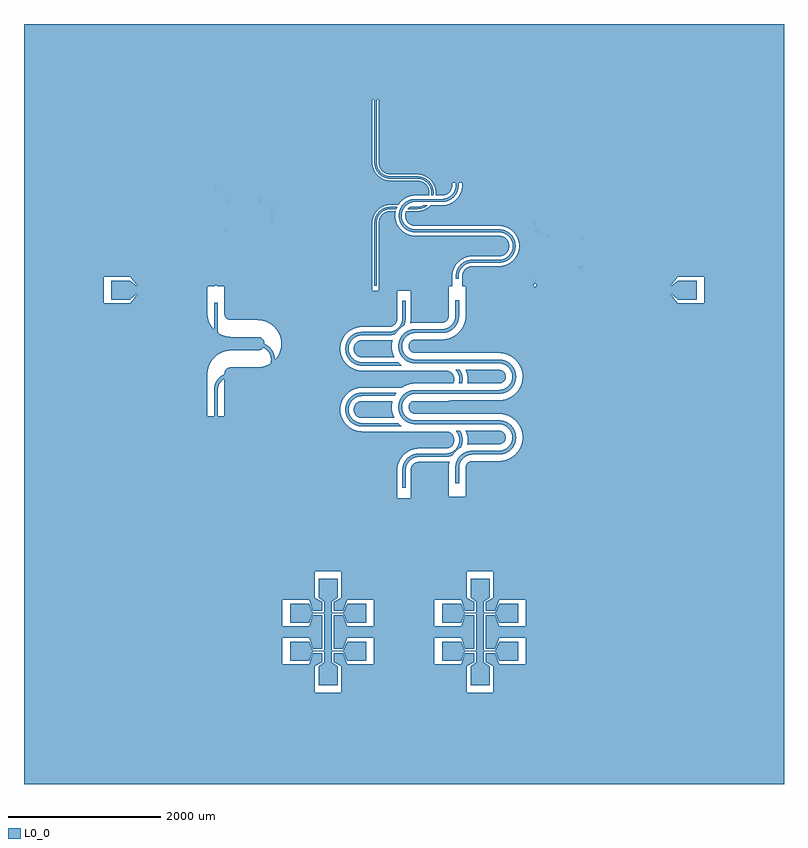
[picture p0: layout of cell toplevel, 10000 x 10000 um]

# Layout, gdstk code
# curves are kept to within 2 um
import gdstk
lib = gdstk.Library(unit=1e-6, precision=1e-09)
def R(c, l, rs):  # rectangles x0, y0, x1, y1
    for r in rs: c.add(gdstk.rectangle(r[:2], r[2:], *l))
def P(c, l, *ps):  # polygons
    for p in ps: c.add(gdstk.Polygon(p, *l))
L0_0 = (0, 0)

toplevel = lib.new_cell('toplevel')
R(toplevel, L0_0, [(-2457.999,1550,-416.999,1864.055)])
P(toplevel, L0_0, [(-875,-3450),(-950,-3400),(-950,-3255),(-800,-3255),(-750,-3375),(-500,-3375),(-500,-3125),(-750,-3125),(-800,-3245),(-950,-3245),(-950,-2755),(-800,-2755),(-750,-2875),(-500,-2875),(-500,-2625),(-750,-2625),(-800,-2745),(-950,-2745),(-950,-2600),(-875,-2550),(-875,-2300),(-1125,-2300),(-1125,-2550),(-1050,-2600),(-1050,-2745),(-1200,-2745),(-1250,-2625),(-1500,-2625),(-1500,-2875),(-1250,-2875),(-1200,-2755),(-1050,-2755),(-1050,-3245),(-1200,-3245),(-1250,-3125),(-1500,-3125),(-1500,-3375),(-1250,-3375),(-1200,-3255),(-1050,-3255),(-1050,-3400),(-1125,-3450),(-1125,-3700),(-875,-3700)],
  [(176.865,2565.692),(212.273,2568.954),(246.619,2578.023),(279.022,2592.665),(308.62,2612.525),(256.571,2612.525),(223.264,2600.054),(189.644,2594.261),(81.812,2593.878),(48.221,2565.683)],
  [(-362.898,1557.003),(-360.992,2381.324),(-355.006,2426.517),(-342.684,2460.168),(-325.097,2489.532),(-301.232,2516.289),(-274.048,2537.117),(-242.003,2553.196),(-205.859,2563.105),(-101.314,2565.683),(-89.778,2593.683),(-204.939,2591.579),(-241.494,2583.091),(-277.641,2567.462),(-313.201,2543.074),(-343.139,2512.066),(-366.272,2475.657),(-382.105,2433.566),(-388.991,2381.57),(-388.999,1559)],
  [(634,1678.674),(636.955,1718.069),(645.754,1756.726),(660.193,1793.63),(678.671,1826.072),(703.059,1857.329),(731.822,1884.614),(762.319,1906.122),(797.675,1924.057),(842.119,1938.152),(888.341,1944.27),(1261.72,1945.039),(1295.945,1952.649),(1327.995,1969.564),(1350.563,1989.965),(1367.956,2014.946),(1378.943,2042.062),(1383.845,2072.087),(1382.052,2101.289),(1373.514,2130.489),(1358.609,2157.01),(1338.119,2179.475),(1319.195,2193.276),(1298.157,2203.572),(1253.509,2212.479),(149.851,2212.525),(101.383,2217.005),(50.099,2231.997),(2.816,2256.955),(-38.496,2290.84),(-73.483,2334.262),(-97.812,2381.852),(-112.136,2433.345),(-115.876,2486.68),(-108.882,2539.651),(-187.473,2537.19),(-221.436,2530.705),(-261.485,2511.911),(-294.731,2482.776),(-310.18,2461.476),(-321.88,2437.907),(-329.506,2412.723),(-332.847,2386.605),(-332.999,1550),(634,1550)],
  [(3848.101,1375.003),(3848.101,1624.997),(3600.237,1624.937),(3499.265,1540),(810,1540),(812,1460),(3499.265,1460),(3600.237,1375.063)],
  [(-3600.635,1375.003),(-3499.466,1459.99),(-2586.999,1460),(-2584.999,1540),(-3499.365,1540.003),(-3600.237,1624.937),(-3848.303,1624.977),(-3849.45,1375.622)],
  [(-89,1490),(87.303,1491.977),(89,1460),(588,1460),(590,1540),(-332.999,1540),(-334.999,1492),(-415.97,1492.251),(-416.999,1540),(-2364.999,1540),(-2362.999,1460),(-89,1460)],
  [(82.277,1064.354),(144.531,1071.745),(504.622,1071.914),(530.267,1077.162),(553.219,1089.709),(576.849,1116.919),(587.59,1151.319),(588,1450),(89,1450),(88.956,1121.711)],
  [(-31.611,506.095),(-78.911,547.792),(-553.141,547.819),(-579.634,550.262),(-606.942,557.09),(-634.243,568.855),(-657.989,584.035),(-680.114,603.864),(-698.665,627.093),(-712.471,651.664),(-722.664,679.59),(-727.931,707.259),(-728.71,736.977),(-724.9,764.884),(-717.322,790.387),(-706.048,814.484),(-690.371,837.864),(-672.345,857.454),(-650.348,875.019),(-602.468,897.929),(-553.141,905.764),(-188.378,906.097),(-151.895,911.09),(-116.385,922.221),(-92.962,955.532),(-65.252,985.649),(-33.824,1011.89),(0.376,1033.573),(11.234,1061.819),(17.937,1090.123),(20.924,1120.983),(19.101,1356.998),(-20.908,1355.599),(-21.007,1125.212),(-24.029,1094),(-32.458,1063.778),(-46.851,1034.129),(-66.412,1007.648),(-89.282,986.142),(-134.039,960.388),(-182.757,948.624),(-557.726,947.657),(-592.276,943.711),(-625.797,934.387),(-654.027,921.778),(-681.764,904.216),(-705.248,884.079),(-726.846,859.331),(-743.604,833.369),(-757.262,803.496),(-766.342,771.929),(-770.642,739.364),(-769.883,704.597),(-763.173,668.495),(-750.585,634.018),(-732.464,602.1),(-709.323,573.634),(-681.778,549.378),(-650.583,530.007),(-616.644,516.079),(-584.659,508.526),(-553.859,505.825)],
  [(-127.181,616.559),(-149.465,672.24),(-160.422,728.437),(-160.923,785.708),(-150.98,841.981),(-194.937,837.835),(-568.379,836.259),(-598.793,826.492),(-624.435,809.134),(-644.802,784.527),(-657.319,755.138),(-660.76,734.08),(-659.981,711.791),(-655.079,691.025),(-645.807,670.74),(-633.301,653.431),(-616.967,638.269),(-597.903,626.661),(-577.876,619.35),(-550.98,615.797)],
  [(1250.761,271.796),(1280.892,277.393),(1306.689,292.485),(1325.956,315.356),(1336.448,343.341),(1336.85,373.967),(1327.088,402.234),(1308.436,425.587),(1283.044,441.351),(1251.549,447.777),(812.449,447.792),(828.093,405.443),(836.985,360.863),(838.777,315.423),(833.716,271.792)],
  [(764.16,272.235),(770.238,308.449),(770.069,347.061),(763.173,385.088),(749.773,421.301),(734.93,447.792),(681.906,447.792),(709.021,408.97),(724.9,364.884),(728.793,318.188),(720.34,271.792)],
  [(-31.611,-293.905),(-78.911,-252.208),(-551.575,-252.201),(-597.957,-245.664),(-645.084,-224.866),(-683.308,-192.665),(-711.8,-149.771),(-726.904,-100.522),(-728.957,-69.284),(-725.843,-39.737),(-717.878,-11.096),(-705.274,15.847),(-688.394,40.317),(-667.697,61.656),(-642.43,80.081),(-615.77,93.271),(-585.776,102.18),(-554.707,105.73),(-125.731,105.792),(-98.996,147.792),(-551.943,147.783),(-594.19,143.329),(-645.382,126.149),(-689.399,98.283),(-726.846,59.331),(-752.958,14.252),(-766.342,-28.071),(-770.981,-70.299),(-767.102,-114.535),(-755.184,-155.31),(-735.684,-193.052),(-707.965,-227.767),(-673.892,-256.216),(-636.571,-276.547),(-597.956,-288.943),(-555.792,-294.133)],
  [(-127.181,-183.441),(-148.692,-130.361),(-160.135,-74.278),(-161.138,-17.013),(-152.091,37.792),(-568.379,36.259),(-598.793,26.492),(-624.435,9.134),(-644.802,-15.473),(-657.319,-44.862),(-660.76,-65.92),(-659.981,-88.209),(-655.079,-108.975),(-645.807,-129.26),(-633.301,-146.569),(-616.967,-161.731),(-597.903,-173.339),(-577.876,-180.65),(-550.98,-184.203)],
  [(19.101,-1103.414),(22.763,-848.149),(28.911,-820.582),(39.319,-794.324),(53.728,-770.031),(70.688,-749.437),(93.008,-729.703),(119.709,-713.226),(147.39,-702.114),(178.055,-695.559),(557.743,-694.073),(596.066,-689.354),(633.619,-677.776),(656.562,-645.061),(684.268,-614.81),(715.733,-588.434),(750.378,-566.424),(761.007,-538.913),(770.238,-491.551),(768.969,-443.315),(757.262,-396.504),(734.93,-352.208),(681.906,-352.208),(706.048,-385.516),(721.812,-422.992),(728.71,-463.023),(726.401,-503.597),(714.994,-542.62),(695.095,-578.034),(667.697,-608.073),(634.243,-631.145),(597.957,-645.664),(559.385,-651.962),(198.052,-652.217),(167.162,-654.661),(131.347,-663.142),(97.42,-677.457),(66.669,-696.96),(40.345,-720.397),(16.115,-750.622),(-3.241,-786.409),(-15.275,-823.23),(-20.694,-861.586),(-20.977,-1101.72)],
  [(834.766,-535.103),(894.516,-528.255),(1250.779,-528.204),(1269.841,-525.941),(1300.59,-512.212),(1324.345,-487.29),(1336.719,-455.161),(1335.815,-420.725),(1325.947,-395.757),(1309.01,-374.927),(1287.295,-360.503),(1261.509,-352.965),(812.449,-352.208),(828.093,-394.557),(836.985,-439.137),(838.932,-479.522),(832.167,-535.671)],
  [(950,-2745),(800,-2745),(750,-2625),(500,-2625),(500,-2875),(750,-2875),(800,-2755),(950,-2755),(950,-3245),(800,-3245),(750,-3125),(500,-3125),(500,-3375),(750,-3375),(800,-3255),(950,-3255),(950,-3400),(875,-3450),(875,-3700),(1125,-3700),(1125,-3450),(1050,-3400),(1050,-3255),(1200,-3255),(1250,-3375),(1500,-3375),(1500,-3125),(1250,-3125),(1200,-3245),(1050,-3245),(1050,-2755),(1200,-2755),(1250,-2875),(1500,-2875),(1500,-2625),(1250,-2625),(1200,-2745),(1050,-2745),(1050,-2600),(1125,-2550),(1125,-2300),(875,-2300),(875,-2550),(950,-2600)],
  [(5000,-5000),(5000,11.958),(79.131,11.958),(68.297,-7.521),(62.613,-29.845),(62.918,-52.879),(69.183,-75.029),(81,-94.823),(97.524,-110.849),(116.94,-121.761),(139.237,-127.547),(1252.739,-128.219),(1298.951,-132.071),(1341.475,-141.918),(1387.119,-159.953),(1429.384,-184.932),(1467.22,-216.244),(1499.653,-253.077),(1525.925,-294.571),(1546.218,-342.23),(1557.923,-389.927),(1561.998,-438.834),(1559.134,-482.407),(1550.22,-525.136),(1534.316,-568.696),(1513.611,-607.103),(1487.729,-642.272),(1457.216,-673.46),(1420.355,-701.597),(1382.193,-722.821),(1325.694,-742.888),(1269.109,-751.624),(890.759,-752.696),(861.216,-761.217),(836.431,-779.357),(819.384,-804.926),(812.168,-834.797),(810.501,-1220.353),(588.204,-1219.298),(588.107,-831.987),(591.463,-793.845),(599.022,-758.018),(552.538,-762.198),(196.113,-762.277),(171.123,-766.031),(146.757,-775.812),(125.396,-791.019),(108.189,-810.826),(96.111,-834.12),(89.962,-858.631),(87,-1238.417),(-88.936,-1236.918),(-87.655,-845.346),(-82.076,-810.322),(-72.243,-776.228),(-58.299,-743.581),(-40.467,-712.904),(-5.243,-669.746),(37.592,-634.158),(86.49,-607.432),(139.574,-590.595),(194.919,-584.252),(553.876,-584.14),(575.029,-581.349),(595.274,-574.555),(616.176,-562.324),(634.572,-545.1),(648.617,-524.155),(657.319,-501.554),(660.913,-477.587),(659.039,-452.439),(651.544,-428.378),(639.394,-407.409),(622.248,-388.94),(602.252,-375.277),(579.735,-366.266),(554.846,-362.315),(-552.538,-362.198),(-590.341,-359.38),(-629.867,-350.954),(-683.781,-329.381),(-730.337,-299.04),(-771.844,-258.429),(-804.386,-210.355),(-826.674,-156.714),(-837.538,-102.252),(-837.538,-44.165),(-826.164,11.958),(-2362.999,11.958),(-2364.999,-164.367),(-2452.999,-164.367),(-2450.999,11.958),(-2498.999,11.958),(-2496.999,-164.367),(-2586.795,-163.248),(-2586.999,11.958),(-5000,11.958),(-5000,-3425),(-1600,-3425),(-1600,-3075),(-1250,-3075),(-1200,-3220),(-1075,-3220),(-1075,-2780),(-1200,-2780),(-1250,-2925),(-1600,-2925),(-1600,-2575),(-1250,-2575),(-1200,-2720),(-1075,-2720),(-1075,-2600),(-1175,-2550),(-1175,-2200),(-825,-2200),(-825,-2550),(-925,-2600),(-925,-2720),(-800,-2720),(-750,-2575),(-400,-2575),(-400,-2925),(400,-2925),(400,-2575),(750,-2575),(800,-2720),(925,-2720),(925,-2600),(825,-2550),(825,-2200),(1175,-2200),(1175,-2550),(1075,-2600),(1075,-2720),(1200,-2720),(1250,-2575),(1600,-2575),(1600,-2925),(1250,-2925),(1200,-2780),(1075,-2780),(1075,-3220),(1200,-3220),(1250,-3075),(1600,-3075),(1600,-3425),(1250,-3425),(1200,-3280),(1075,-3280),(1075,-3400),(1175,-3450),(1175,-3800),(825,-3800),(825,-3450),(925,-3400),(925,-3280),(800,-3280),(750,-3425),(400,-3425),(400,-3075),(750,-3075),(800,-3220),(925,-3220),(925,-2780),(800,-2780),(750,-2925),(-750,-2925),(-800,-2780),(-925,-2780),(-925,-3220),(-800,-3220),(-750,-3075),(-400,-3075),(-400,-3425),(-750,-3425),(-800,-3280),(-925,-3280),(-925,-3400),(-825,-3450),(-825,-3800),(-1175,-3800),(-1175,-3450),(-1075,-3400),(-1075,-3280),(-1200,-3280),(-1250,-3425),(-5000,-3425),(-5000,-5000)],
  [(-2586.999,393.567),(-2583.536,439.68),(-2574.006,482.419),(-2558.602,523.371),(-2536.122,564.078),(-2509.655,598.941),(-2476.473,631.545),(-2438.843,658.835),(-2397.966,680.061),(-5000,680.061),(-5000,11.958),(-2586.999,11.958)],
  [(-825.932,12.716),(-812.305,48.108),(-794.179,81.382),(-770.215,113.947),(-743.811,141.172),(-714.084,164.695),(-681.534,184.125),(-646.737,199.121),(-610.243,209.444),(-552.52,215.782),(-28.344,215.792),(7.982,237.596),(48.142,254.698),(90.295,266.027),(133.634,271.363),(646.414,271.792),(657.563,299.386),(660.99,328.24),(653.057,368.024),(631.346,402.314),(598.793,426.492),(559.692,437.367),(-552.538,437.802),(-615.198,445.241),(-656.208,458.014),(-694.858,476.716),(-728.354,499.39),(-760.089,528.337),(-787.183,561.668),(-809.03,598.631),(-825.17,638.457),(-835.197,680.061),(-1634.28,680.061),(-1662.858,624.122),(-1701.119,576.013),(-1705.717,629.049),(-1722.97,680.061),(-1777.974,680.061),(-1760.475,645.829),(-1750.617,607.125),(-1749.606,568.71),(-1757.177,530.296),(-1790.322,511.879),(-1823.157,498.405),(-1857.293,488.75),(-1892.304,483.033),(-2276.552,481.302),(-2310.265,473.94),(-2332.407,460.011),(-2349.476,440.189),(-2359.964,416.225),(-2362.999,389.306),(-2389.254,375.987),(-2415.093,358.102),(-2438.174,336.776),(-2458.055,312.416),(-2483.96,264.011),(-2497.542,208.824),(-2498.999,11.958),(-2450.999,11.958),(-2450.938,187.958),(-2444.933,229.126),(-2432.987,260.878),(-2414.242,290.961),(-2391.002,315.677),(-2362.999,335.735),(-2362.999,11.958)],
  [(5000,680.061),(112.76,680.061),(148.451,671.806),(1252.739,671.781),(1320.369,663.754),(1372.222,646.857),(1420.34,621.19),(1463.267,587.523),(1499.653,546.923),(1528.424,500.593),(1547.887,452.571),(1559.492,399.284),(1561.64,344.79),(1555.429,296.089),(1540.674,246.418),(1519.291,202.225),(1489.488,159.816),(1453.102,122.949),(1413.42,94.012),(1367.179,70.631),(1317.723,55.229),(1255.452,47.838),(625.365,47.792),(590.341,40.62),(555.067,37.835),(109.261,37.792),(92.724,26.6),(79.131,11.958),(5000,11.958)],
  [(-1723.361,680.877),(-1744.594,716.095),(-1770.47,745.48),(-1801.054,769.901),(-1837.091,789.345),(-1840.32,817.259),(-1852.338,842.957),(-1871.308,863.038),(-1896.264,876.492),(-1923.45,881.302),(-2305.061,882.767),(-2340.233,888.211),(-2377.131,898.505),(-2410.011,912.04),(-2442.822,930.298),(-2450.891,977.149),(-2450.999,1185.595),(-2498.999,1185.595),(-2498.879,976.012),(-2536.122,1022.555),(-2562.991,1073.295),(-2580.108,1128.099),(-2586.903,1185.595),(-5000,1185.595),(-5000,680.061),(-2397.966,680.061),(-2345.561,697.234),(-2291.41,704.886),(-1915.018,705.885),(-1896.264,710.141),(-1879.555,717.96),(-1864.843,729.09),(-1852.37,743.63),(-1810.426,716.917),(-1777.974,680.061)],
  [(-835.22,680.2),(-838.932,720.478),(-836.985,760.863),(-828.766,803.023),(-815.406,841.165),(-795.513,879.255),(-771.833,912.026),(-743.811,941.172),(-711.996,966.122),(-681.534,984.125),(-649.1,998.27),(-615.198,1008.342),(-580.301,1014.2),(-198.043,1015.81),(-162.757,1022.227),(-142.536,1031.825),(-124.665,1045.272),(-109.852,1062.029),(-98.707,1081.399),(-89.518,1116.085),(-89,1185.595),(-2362.659,1185.595),(-2355.929,1158.759),(-2341.175,1135.312),(-2319.88,1117.623),(-2294.142,1107.425),(-1892.304,1103.6),(-1854.63,1097.279),(-1817.995,1086.395),(-1780.555,1069.868),(-1747.841,1050.143),(-1707.779,1017.281),(-1673.718,978.256),(-1646.575,934.118),(-1627.112,886.096),(-1615.865,835.515),(-1613.144,783.771),(-1619.028,732.272),(-1634.28,680.061)],
  [(5000,1185.595),(812,1185.595),(811.232,1137.897),(805.666,1097.237),(793.904,1055.076),(776.357,1014.976),(753.371,977.727),(725.399,944.06),(693.004,914.65),(656.783,890.044),(594.336,862.394),(527.335,848.99),(149.221,847.787),(130.159,845.525),(101.961,833.522),(79.12,811.944),(65.321,783.735),(62.304,752.493),(67.203,729.984),(77.786,709.503),(93.311,692.485),(112.76,680.061),(5000,680.061)],
  [(-2586.903,1185.595),(-2586.999,1450),(-3499.238,1449.99),(-3600.469,1325.062),(-3948.695,1325.124),(-3949.977,1673.303),(-3600.469,1674.938),(-3499.238,1550.01),(-2491.999,1550),(-2491.999,1864.055),(-5000,1864.055),(-5000,1185.595)],
  [(-2467.898,1560.003),(-2465.999,1562),(-2465.999,1864.055),(-2483.999,1864.055),(-2483.996,1561.899)],
  [(716.101,1645.003),(717.99,1646.798),(718.344,1689.707),(722.02,1716.565),(730.219,1744.088),(742.646,1769.978),(760.006,1794.825),(782.463,1817.482),(807.17,1835.071),(834.421,1848.3),(863.507,1856.829),(893.604,1860.413),(1251.899,1860.533),(1289.061,1864.055),(785.532,1864.055),(754.896,1841.218),(728.717,1813.382),(707.793,1781.387),(692.204,1744.442),(683.208,1701.448),(682.064,1646.499)],
  [(1708.001,1602.725),(1710.412,1634.945),(1718.153,1668.281),(1730.2,1698.296),(1746.585,1726.202),(1766.925,1751.348),(1792.264,1774.352),(1819.253,1792.174),(1848.592,1805.786),(1881.491,1815.277),(1917.377,1819.55),(2294.174,1820.691),(2320.954,1825.547),(2348.156,1834.942),(2372.21,1847.637),(2394.46,1864.055),(1407.346,1864.055),(1377.241,1844.931),(1345.588,1830.293),(1312.275,1819.917),(1275.557,1813.755),(885.924,1811.783),(842.019,1799.331),(804.827,1772.854),(778.697,1735.46),(766.625,1691.449),(766,1550),(1708.001,1550)],
  [(1732.102,1580.003),(1739.339,1647.524),(1748.704,1676.171),(1761.585,1701.558),(1780.26,1727.307),(1801.666,1748.524),(1826.127,1766.1),(1853.08,1779.625),(1885.08,1789.465),(1918.307,1793.566),(2276.821,1793.691),(2305.987,1795.993),(2341.504,1804.546),(2374.989,1819.153),(2405.406,1839.357),(2431.405,1864.055),(2406.388,1864.055),(2382.076,1844.519),(2355.923,1829.673),(2326.174,1818.666),(2296.674,1812.917),(1917.675,1811.555),(1881.3,1807.064),(1846.301,1796.3),(1813.703,1779.584),(1784.524,1757.433),(1759.651,1730.513),(1739.871,1699.678),(1723.684,1658.832),(1716.396,1615.523),(1716.163,1581.211)],
  [(5000,1864.055),(2441.945,1864.055),(2414.816,1836.729),(2382.12,1813.965),(2345.831,1797.568),(2307.173,1788.081),(2276.909,1785.692),(1923.386,1785.676),(1896.206,1783.404),(1860.562,1773.963),(1826.179,1756.707),(1796.176,1732.657),(1772.726,1704.178),(1755.477,1671.608),(1745.399,1637.786),(1742.114,1609.115),(1742.001,1550),(3499.138,1550.002),(3600.469,1674.938),(3948.403,1674.959),(3948.971,1325.251),(3600.469,1325.062),(3499.138,1449.998),(812,1450),(812,1185.595),(5000,1185.595)],
  [(-89,1450),(-2362.999,1450),(-2362.659,1185.595),(-89,1185.595)],
  [(-2450.999,1328),(-2498.875,1328.695),(-2498.999,1185.595),(-2450.999,1185.595)],
  [(-2491.999,2082.725),(-2484.525,2139.145),(-2463.365,2190.419),(-5000,2190.419),(-5000,1864.055),(-2491.999,1864.055)],
  [(-2465.999,2082.668),(-2463.879,2111.063),(-2457.558,2138.838),(-2447.184,2165.347),(-2432.712,2190.419),(-2454.094,2190.412),(-2471.252,2154.557),(-2481.399,2115.551),(-2483.991,2084.526),(-2483.999,1864.055),(-2465.999,1864.055)],
  [(-416.999,2190.419),(-2422.923,2190.419),(-2445.713,2148.606),(-2456.986,2101.91),(-2457.999,1864.055),(-416.999,1864.055)],
  [(1289.828,1864.194),(1317.539,1871.251),(1345.805,1882.705),(1370.626,1896.939),(1394.787,1915.55),(1432.122,1958.71),(1446.23,1983.562),(1457.568,2011.894),(1465.733,2047.166),(1467.948,2083.303),(1464.155,2119.291),(1455.109,2152.38),(1437.092,2190.419),(1393.538,2190.419),(1413.832,2157.791),(1427.13,2120.345),(1431.984,2080.923),(1428.167,2041.369),(1415.849,2003.571),(1395.628,1969.363),(1368.478,1940.37),(1335.655,1917.941),(1298.761,1903.179),(1259.543,1896.776),(878.981,1895.51),(830.463,1885.138),(785.532,1864.055)],
  [(2395.328,1864.806),(2426.988,1900.757),(2448.233,1943.694),(2457.494,1989.075),(2454.77,2036.92),(2439.733,2082.385),(2414.435,2121.204),(2378.899,2153.329),(2336.243,2175.132),(2306.875,2182.886),(2278.212,2185.655),(1923.088,2185.692),(1879.917,2190.419),(1491.32,2190.419),(1506.58,2148.69),(1514.878,2102.941),(1515.083,2056.446),(1507.773,2012.878),(1492.397,1968.98),(1470.924,1930.373),(1441.764,1894.18),(1407.346,1864.055)],
  [(2431.853,1864.559),(2449.595,1887.8),(2463.137,1911.657),(2473.433,1937.064),(2480.649,1965.399),(2483.759,1992.619),(2483.279,2020.047),(2479.218,2047.142),(2471.015,2075.207),(2458.092,2103.474),(2441.131,2129.498),(2420.5,2152.721),(2396.669,2172.619),(2366.85,2190.419),(2310.158,2190.419),(2334.19,2184.281),(2357.434,2174.979),(2398.051,2148.764),(2416.113,2131.402),(2431.756,2111.811),(2454.133,2068.96),(2461.975,2041.694),(2465.589,2015.219),(2465.341,1986.814),(2460.89,1958.795),(2452.94,1933.266),(2440.694,1907.674),(2424.771,1884.151),(2406.388,1864.055)],
  [(5000,2190.419),(2383.832,2190.419),(2421.941,2162.364),(2453.094,2126.667),(2475.751,2085.076),(2488.517,2041.412),(2491.833,1994.132),(2484.813,1947.293),(2467.79,1903.077),(2441.945,1864.055),(5000,1864.055)],
  [(-2463.166,2190.764),(-2436.945,2227.122),(-2403.157,2257.797),(-2363.733,2280.712),(-2320.356,2294.891),(-2276.912,2299.675),(-1912.207,2300.131),(-1866.785,2309.19),(-1825.091,2329.362),(-5000,2329.362),(-5000,2190.419)],
  [(-2432.475,2190.764),(-2409.469,2218.326),(-2380.946,2241.606),(-2350.031,2258.329),(-2314.92,2269.465),(-2278.36,2273.654),(-1901.265,2275.035),(-1869.003,2281.324),(-1838.11,2292.601),(-1809.353,2308.594),(-1782.968,2329.362),(-1811.098,2329.362),(-1833.622,2314.96),(-1857.923,2303.849),(-1883.554,2296.234),(-1909.963,2292.276),(-2276.824,2291.676),(-2318.7,2287.064),(-2367.102,2270.295),(-2409.972,2242.256),(-2434.583,2217.643),(-2454.089,2190.419)],
  [(-416.999,2329.362),(-1771.438,2329.362),(-1798.675,2306.243),(-1829.618,2287.769),(-1863.192,2274.671),(-1898.471,2267.311),(-2278.219,2265.655),(-2313.265,2261.638),(-2345.393,2251.603),(-2375.168,2235.834),(-2401.536,2214.885),(-2422.923,2190.419),(-416.999,2190.419)],
  [(1436.884,2190.764),(1405.832,2230.973),(1365.803,2263.225),(1321.156,2284.586),(1270.944,2295.517),(145.214,2296.588),(93.599,2305.485),(45.724,2329.362),(-8.977,2329.362),(20.025,2303.509),(54.195,2282.705),(89.756,2269.014),(129.056,2261.533),(1259.543,2260.275),(1297.242,2254.287),(1334.246,2239.853),(1366.029,2218.744),(1393.538,2190.419)],
  [(1879.644,2190.476),(1827.667,2208.737),(1781.989,2239.476),(1745.498,2280.75),(1720.765,2329.362),(1338.523,2329.362),(1385.338,2307.523),(1428.386,2275.844),(1464.232,2236.199),(1491.32,2190.419)],
  [(2366.137,2190.764),(2327.465,2204.992),(2285.961,2211.396),(1923.316,2211.691),(1885.08,2215.902),(1846.898,2228.382),(1812.199,2248.551),(1791.739,2265.854),(1774.933,2284.528),(1760.714,2305.262),(1748.636,2329.362),(1729.285,2329.362),(1753.153,2283.733),(1788.646,2244.29),(1832.913,2215.064),(1881.3,2198.303),(1921.342,2193.715),(2276.681,2193.676),(2310.158,2190.419)],
  [(5000,2329.362),(1757.332,2329.362),(1779.254,2292.018),(1809.302,2260.899),(1844.37,2238.404),(1885.183,2224.068),(1923.386,2219.691),(2290.172,2219.153),(2338.626,2210.147),(2383.832,2190.419),(5000,2190.419)],
  [(-1825.077,2329.372),(-1793.07,2355.862),(-1767.863,2388.889),(-1750.756,2426.751),(-1742.63,2467.496),(-1743.902,2509.007),(-1754.507,2549.178),(-1773.91,2585.936),(-1802.158,2618.326),(-5000,2618.326),(-5000,2329.362)],
  [(-1782.148,2330.123),(-1755.587,2360.288),(-1735.306,2394.947),(-1722.463,2431.106),(-1716.336,2470.81),(-1717.917,2510.937),(-1727.149,2550.036),(-1743.7,2586.663),(-1765.997,2618.326),(-1790.532,2618.326),(-1764.53,2586.273),(-1746.46,2550.541),(-1736.233,2511.811),(-1734.309,2471.816),(-1741.212,2430.689),(-1756.877,2392.041),(-1780.557,2357.713),(-1811.098,2329.362)],
  [(-416.999,2379.78),(-413.28,2421.947),(-402.246,2462.888),(-384.227,2501.289),(-359.78,2535.953),(-329.655,2565.817),(-294.779,2589.962),(-256.206,2607.652),(-215.17,2618.326),(-1755.62,2618.326),(-1733.991,2585.664),(-1718.383,2549.009),(-1709.742,2510.136),(-1708.349,2470.356),(-1714.254,2430.956),(-1727.255,2393.316),(-1746.906,2358.7),(-1771.438,2329.362),(-416.999,2329.362)],
  [(45.363,2329.613),(14.458,2357.066),(-9.446,2390.77),(-25.558,2430.532),(-31.859,2471.369),(-28.79,2512.557),(-16.498,2552.025),(4.372,2587.688),(33.471,2618.326),(-17.271,2618.326),(-44.538,2576.908),(-61.716,2530.491),(-67.981,2481.395),(-63.011,2432.152),(-55.103,2404.654),(-42.786,2376.753),(-8.977,2329.362)],
  [(5000,2618.326),(555.246,2618.326),(507.011,2612.617),(349.99,2612.525),(324.336,2589.255),(294.462,2569.224),(261.965,2553.848),(229.58,2543.918),(183.461,2537.831),(29.768,2537.683),(19.067,2507.026),(16.063,2474.43),(19.321,2448.879),(26.939,2425.499),(39.368,2402.918),(55.878,2383.147),(74.892,2367.554),(97.512,2355.233),(122.055,2347.472),(146.474,2344.572),(1252.336,2344.516),(1296.309,2340.464),(1338.523,2329.362),(1720.765,2329.362),(1711.677,2362.911),(1708.076,2396.963),(1708.125,2423.062),(1718.001,2424.367),(1716.973,2382.549),(1726.341,2337.758),(1729.285,2329.362),(1748.636,2329.362),(1739.339,2357.842),(1734.735,2385.953),(1732.001,2424.367),(1740.001,2424.367),(1745.101,2369.142),(1757.332,2329.362),(5000,2329.362)],
  [(-1802.264,2618.423),(-1825.091,2636.005),(-1850.363,2649.772),(-1877.498,2659.411),(-1905.826,2664.676),(-2278.816,2665.717),(-2333.297,2673.661),(-2380.747,2693.193),(-2422.27,2723.309),(-2455.565,2762.33),(-2479.166,2809.171),(-5000,2809.171),(-5000,2618.326)],
  [(-1766.491,2618.902),(-1793.156,2644.852),(-1825.011,2666.214),(-1858.496,2680.821),(-1895.823,2689.637),(-1923.179,2691.676),(-2278.36,2691.713),(-2324.695,2698.262),(-2359.155,2711.223),(-2390.502,2730.565),(-2426.109,2765.864),(-2451.285,2809.171),(-2470.644,2809.171),(-2447.875,2765.231),(-2415.476,2727.934),(-2375.228,2699.284),(-2329.379,2680.882),(-2278.658,2673.715),(-1903.326,2672.45),(-1872.218,2666.246),(-1842.566,2654.979),(-1815.187,2638.96),(-1790.532,2618.326)],
  [(-215.153,2618.329),(-181.378,2621.6),(-74.189,2621.683),(-41.752,2662.883),(-2.935,2696.165),(41.516,2721.399),(90.008,2737.672),(143.009,2744.434),(329.038,2744.525),(332.963,2776.218),(330.224,2809.171),(-2442.584,2809.171),(-2421.722,2773.315),(-2394.403,2744.005),(-2361.345,2721.335),(-2324.162,2706.411),(-2278.219,2699.712),(-1923.091,2699.675),(-1890.95,2696.996),(-1852.377,2687.171),(-1816.217,2670.448),(-1783.737,2647.408),(-1755.62,2618.326)],
  [(386.201,2745.181),(388.983,2776.866),(386.958,2809.171),(358.647,2809.171),(360.985,2777.233),(357.647,2744.525)],
  [(501.167,2744.531),(534.862,2749.14),(566.312,2762.084),(593.49,2782.528),(614.655,2809.171),(415.196,2809.171),(416.981,2776.516),(414.433,2744.525)],
  [(33.958,2618.733),(56.021,2634.384),(80.176,2646.598),(105.842,2655.087),(132.499,2659.682),(503.835,2660.559),(558.584,2668.544),(607.901,2689.101),(650.737,2721.037),(684.509,2762.419),(706.673,2809.171),(668.265,2809.171),(648.733,2773.633),(621.154,2742.71),(587.279,2718.818),(548.894,2703.216),(504.782,2696.588),(148.084,2696.517),(113.912,2693.518),(82.445,2685.794),(52.47,2673.492),(26.215,2657.973),(0.985,2637.643),(-17.271,2618.326)],
  [(5000,2809.171),(756.8,2809.171),(744.625,2774.05),(728.796,2742.846),(707.557,2712.162),(682.22,2684.741),(653.322,2661.157),(623.45,2642.906),(589.278,2627.954),(555.246,2618.326),(5000,2618.326)],
  [(5000,5000),(-5000,5000),(-5000,2809.171),(-2479.166,2809.171),(-2488.323,2842.911),(-2491.966,2878.866),(-2489.999,3404.367),(-2481.999,3404.367),(-2483.871,2875.358),(-2480.115,2842.576),(-2470.644,2809.171),(-2451.285,2809.171),(-2461.777,2842.745),(-2465.933,2877.665),(-2467.999,3404.367),(-2457.999,3402.367),(-2457.823,2874.665),(-2453.258,2841.3),(-2442.584,2809.171),(330.224,2809.171),(317.229,2848.496),(294.486,2883.063),(263.577,2910.52),(226.587,2929.025),(179.14,2937.629),(-177.114,2937.692),(-223.521,2942.597),(-270.047,2957.13),(-312.747,2980.712),(-349.826,3012.352),(-379.821,3050.796),(-394.966,3078.794),(-406.31,3108.554),(-413.645,3139.529),(-416.851,3171.199),(-414.999,4001.367),(-386.999,4001.367),(-388.868,3172.182),(-378.982,3114.976),(-354.094,3062.546),(-326.989,3029.034),(-293.703,3001.623),(-255.582,2981.435),(-214.221,2969.308),(-176.886,2965.692),(181.502,2965.57),(208.999,2962.55),(237.247,2954.959),(280.617,2932.789),(317.77,2898.902),(344.495,2856.285),(358.647,2809.171),(386.958,2809.171),(376.346,2852.183),(356.798,2892.582),(336.837,2919.702),(312.883,2943.344),(285.488,2962.956),(253.649,2978.708),(217.792,2989.362),(182.482,2993.553),(-176.64,2993.691),(-207.467,2996.539),(-245.037,3007.374),(-279.527,3025.833),(-310.492,3052.256),(-334.137,3083.398),(-353.252,3126.561),(-360.885,3173.165),(-362.999,4001.367),(-333.002,3999.468),(-332.944,3175.516),(-326.021,3133.247),(-307.236,3093.212),(-287.217,3068.458),(-261.485,3047.456),(-231.915,3032.291),(-199.861,3023.652),(185.578,3021.453),(225.445,3016.368),(263.938,3004.749),(292.631,2991.172),(320.981,2972.697),(345.001,2951.917),(366.071,2928.198),(383.866,2901.912),(398.88,2871.567),(408.98,2841.474),(415.196,2809.171),(614.655,2809.171),(631.037,2850.503),(636,2911.05),(684,2911.05),(679.98,2851.483),(668.265,2809.171),(706.673,2809.171),(717.161,2859.411),(716,2911.05),(765.876,2909.745),(764.978,2855.221),(756.8,2809.171),(5000,2809.171)],
  [(722.101,-1045.414),(726.19,-812.532),(732.239,-786.989),(742.699,-761.263),(756.18,-738.76),(773.928,-717.4),(796.058,-698.18),(821.055,-682.907),(846.798,-672.442),(875.378,-665.939),(1265.678,-663.659),(1317.548,-653.781),(1365.665,-632.035),(1401.68,-605.04),(1431.56,-571.403),(1454.123,-532.458),(1468.87,-487.875),(1473.981,-443.157),(1470.046,-398.303),(1457.233,-355.175),(1436.05,-315.462),(1404.529,-278.045),(1363.982,-247.376),(1317.532,-226.63),(1267.632,-216.903),(148.451,-216.201),(107.297,-210.949),(69.884,-196.916),(36.614,-174.817),(9.173,-145.772),(-11.009,-111.286),(-22.892,-73.135),(-25.864,-33.288),(-19.766,6.219),(-5.643,41.958),(19.959,78.389),(52.628,106.402),(92.555,126.153),(134.627,135.119),(1253.929,135.826),(1304.347,142.484),(1351.545,160.132),(49.801,160.132),(39.41,154.589),(11.773,136.057),(-11.474,115.041),(-31.56,90.987),(-48.101,64.349),(-61.404,33.849),(-69.674,3.604),(-73.637,-27.465),(-73.226,-58.818),(-68.444,-89.789),(-59.387,-119.789),(-46.232,-148.232),(-29.247,-174.547),(-7.343,-199.643),(16.447,-220.041),(42.836,-236.911),(71.336,-249.942),(109.058,-260.435),(148.031,-264.2),(1263.838,-264.753),(1304.542,-272.873),(1343.505,-291.102),(1376.883,-318.238),(1402.681,-352.661),(1417.101,-384.952),(1424.949,-421.003),(1425.258,-456.349),(1418.493,-491.06),(1404.918,-523.733),(1384.112,-554.182),(1358.605,-578.703),(1328.726,-597.619),(1294.195,-610.569),(1257.69,-616.04),(898.026,-616.217),(868.661,-618.411),(834.145,-626.107),(799.526,-640.006),(769.299,-658.292),(740.908,-682.519),(714.707,-714.341),(694.787,-750.41),(682.26,-787.621),(676.31,-828.428),(676.041,-1043.82)],
  [(1351.948,160.336),(1380.385,177.649),(1404.529,197.628),(1425.648,220.781),(1443.338,246.669),(1457.233,274.758),(1467.543,306.396),(1472.868,337.296),(1473.741,370.56),(1470.046,401.697),(1461.41,433.832),(1448.101,464.349),(1431.56,490.987),(1411.474,515.041),(1386.693,537.249),(1358.866,555.558),(1330.496,568.829),(1292.867,579.652),(1253.911,583.758),(136.144,584.338),(92.555,593.431),(52.613,613.191),(19.959,641.194),(-5.651,677.641),(-18.932,710.417),(-25.393,745.186),(-24.772,780.544),(-17.101,815.048),(-2.681,847.339),(17.915,876.108),(43.835,900.166),(74.025,918.549),(107.314,930.537),(142.293,935.623),(529.409,937.73),(563.957,945.116),(596.929,957.849),(625.882,974.508),(653.46,996.616),(677.217,1022.787),(696.562,1052.369),(711.006,1084.609),(720.206,1118.737),(723.992,1157.835),(722.881,1364.796),(676.124,1363.695),(675.973,1156.712),(671.437,1119.974),(661.238,1089.234),(644.715,1059.624),(622.808,1033.72),(596.323,1012.49),(556.138,992.985),(512.354,984.226),(146.089,983.758),(97.557,977.566),(51.543,960.994),(10.222,934.829),(-24.435,900.321),(-50.777,859.113),(-67.072,815.072),(-73.895,766.66),(-70.046,717.887),(-56.481,672.948),(-33.828,631.794),(-1.68,594.96),(36.033,566.951),(80.585,546.818),(114.87,538.563),(148.031,535.8),(1271.517,534.471),(1300.114,528.506),(1325.975,518.549),(1351.202,503.785),(1373.625,485.063),(1391.756,464.105),(1407.057,439.221),(1417.578,413.584),(1424.167,385.125),(1425.796,351.333),(1420.926,317.836),(1409.741,285.907),(1391.756,255.478),(1369.165,230.271),(1342.197,209.873),(1311.809,195.002),(1277.6,185.969),(1249.952,183.792),(146.089,183.758),(95.653,177.099),(49.801,160.132)])

lib.write_gds('toplevel.gds')
